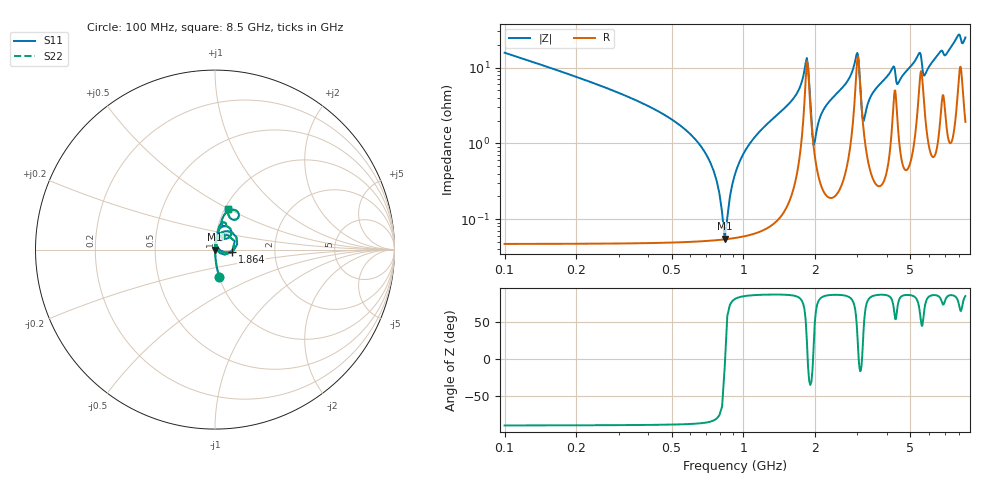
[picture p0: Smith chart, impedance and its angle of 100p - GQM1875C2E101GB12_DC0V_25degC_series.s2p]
!Murata Part Number: GQM1875C2E101GB12
!These Parameters are Measured in Series Mode Connection
!  o--ll--o
!Port1  Port2
!  o------o
!Operation Temp=25[degC], DC Bias Voltage=0[V]
!Freq. Start=100[MHz] Stop=8.5[GHz], 401[Steps]
!Data Generated on Jan 10, 2017
# Hz S RI R 50
!Freq.(Hz) S11(Real) S11(Imag) S21(Real) S21(Imag) S12(Real) S12(Imag) S22(Real) S22(Imag)
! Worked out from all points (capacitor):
!   401 points, 100 MHz to 8.5 GHz, reference 50 ohm
!   read as one part in series: C = 99.8 pF near 142 MHz
!   lowest |Z| = 55 mohm at 835 MHz (marker M1)
!   series resonance near 837.1 MHz, so ESL is about 360 pH
!   S11 on the Smith chart (normalised r, x): 100 MHz: 1.00, -0.31; 1.864 GHz: 1.21, -0.03; 8.5 GHz: 1.04, +0.50
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1e8  0.0245 -0.153  0.9755 0.153  0.9755 0.153  0.0245 -0.153
6.46e8  0.000611 -0.0102  0.9994 0.0102  0.9994 0.0102  0.000611 -0.0102
7.3e8  0.000548 -0.00538  0.9995 0.00538  0.9995 0.00538  0.000548 -0.00538
8.35e8  0.00054 -9.8e-05  0.9995 9.8e-05  0.9995 9.8e-05  0.00054 -9.8e-05
9.4e8  0.000591 0.00467  0.9994 -0.00467  0.9994 -0.00467  0.000591 0.00467
1.045e9  0.000692 0.00914  0.9993 -0.00914  0.9993 -0.00914  0.000692 0.00914
1.507e9  0.00229 0.0303  0.9977 -0.0303  0.9977 -0.0303  0.00229 0.0303
1.822e9  0.0709 0.0807  0.9291 -0.0807  0.9291 -0.0807  0.0709 0.0807
1.864e9  0.0952 -0.0139  0.9048 0.0139  0.9048 0.0139  0.0952 -0.0139
1.948e9  0.0121 -0.00268  0.9879 0.00268  0.9879 0.00268  0.0121 -0.00268
1.99e9  0.00685 0.00788  0.9931 -0.00788  0.9931 -0.00788  0.00685 0.00788
2.179e9  0.00305 0.0286  0.9969 -0.0286  0.9969 -0.0286  0.00305 0.0286
2.914e9  0.0414 0.0977  0.9586 -0.0977  0.9586 -0.0977  0.0414 0.0977
3.019e9  0.1238 0.0306  0.8762 -0.0306  0.8762 -0.0306  0.1238 0.0306
3.187e9  0.0147 0.0126  0.9853 -0.0126  0.9853 -0.0126  0.0147 0.0126
3.523e9  0.00551 0.0485  0.9945 -0.0485  0.9945 -0.0485  0.00551 0.0485
4.3e9  0.0533 0.0741  0.9467 -0.0741  0.9467 -0.0741  0.0533 0.0741
4.426e9  0.0209 0.0558  0.9791 -0.0558  0.9791 -0.0558  0.0209 0.0558
5.455e9  0.0722 0.1269  0.9278 -0.1269  0.9278 -0.1269  0.0722 0.1269
5.707e9  0.0374 0.0656  0.9626 -0.0656  0.9626 -0.0656  0.0374 0.0656
7.114e9  0.0369 0.1461  0.9631 -0.1461  0.9631 -0.1461  0.0369 0.1461
8.5e9  0.0739 0.2259  0.9261 -0.2259  0.9261 -0.2259  0.0739 0.2259
